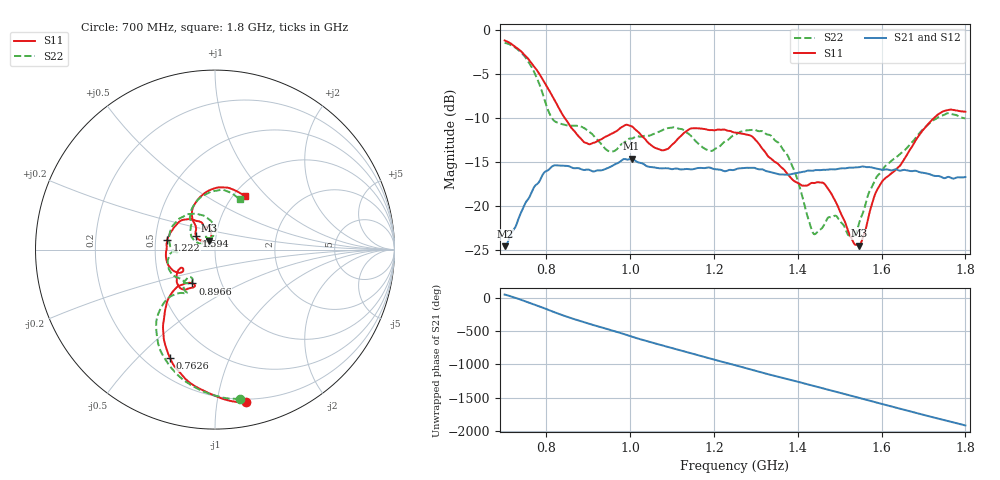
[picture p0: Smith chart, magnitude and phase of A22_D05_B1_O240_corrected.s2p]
! Created with skrf 1.9.0 (http://scikit-rf.org).
# Hz S RI R 50.0
!freq ReS11 ImS11 ReS21 ImS21 ReS12 ImS12 ReS22 ImS22
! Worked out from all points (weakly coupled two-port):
!   1601 points, 700 MHz to 1.8 GHz, reference 50 ohm
!   highest |S21| = -14.64 dB at 1.003 GHz (marker M1); lowest = -24.5 dB at 700.7 MHz (marker M2)
!   lowest |S11| = -24.5 dB at 1.546 GHz (marker M3), VSWR 1.13, Z = 46.5 + j4.6 ohm
!   |S11| at or under -10 dB: 843.3 MHz to 1.725 GHz (881.9 MHz wide, 68.7 % of centre)
!   |S22| runs from -23.4 to -1.5 dB; largest |S21 - S12| = 0.0035
!   S11 on the Smith chart (normalised r, x): 700 MHz: 0.17, -1.21; 762.6 MHz: 0.30, -0.62; 896.6 MHz: 0.73, -0.29; 1.222 GHz: 0.58, +0.07; 1.594 GHz: 0.80, +0.12; 1.8 GHz: 1.12, +0.76
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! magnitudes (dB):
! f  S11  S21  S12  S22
! 700 MHz  -1.2  -24.5  -24.3  -1.5
! 700.7 MHz  -1.2  -24.5  -24.2  -1.5
! 762.6 MHz  -3.7  -18.7  -18.6  -4.1
! 816.2 MHz  -7.7  -15.4  -15.5  -10.2
! 883.6 MHz  -12.4  -15.8  -15.7  -11.0
! 896.6 MHz  -12.9  -15.9  -15.9  -11.4
! 951.6 MHz  -11.9  -15.6  -15.6  -13.8
! 1.003 GHz  -10.9  -14.6  -14.8  -12.4
! 1.067 GHz  -13.5  -15.7  -15.6  -11.6
! 1.145 GHz  -11.2  -15.8  -15.8  -12.0
! 1.222 GHz  -11.3  -16.0  -16.0  -12.8
! 1.25 GHz  -11.7  -15.9  -15.8  -11.9
! 1.356 GHz  -15.4  -16.4  -16.3  -12.9
! 1.393 GHz  -17.2  -16.3  -16.3  -16.1
! 1.434 GHz  -17.4  -16.0  -16.0  -22.8
! 1.467 GHz  -17.7  -15.9  -15.9  -21.7
! 1.526 GHz  -23.5  -15.6  -15.6  -23.3
! 1.546 GHz  -24.5  -15.6  -15.6  -21.9
! 1.594 GHz  -17.8  -15.8  -15.8  -16.4
! 1.617 GHz  -16.5  -15.9  -15.9  -15.1
! 1.731 GHz  -9.7  -16.6  -16.6  -10.1
! 1.8 GHz  -9.3  -16.7  -16.7  -10.1
